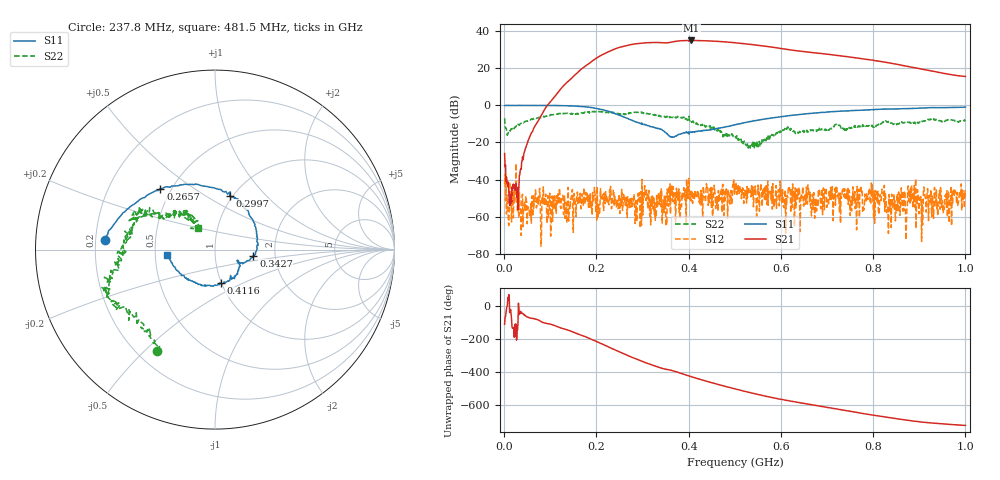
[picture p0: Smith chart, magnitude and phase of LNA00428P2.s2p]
! Created with skrf 1.9.0 (http://scikit-rf.org).
# Hz S RI R 50.0
!freq ReS11 ImS11 ReS21 ImS21 ReS12 ImS12 ReS22 ImS22
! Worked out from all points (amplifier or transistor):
!   1001 points, 1 MHz to 1 GHz, reference 50 ohm
!   highest |S21| = 35.1 dB at 405.6 MHz (marker M1)
!   |S21| within 3 dB of that: 262 MHz to 562.7 MHz (300.7 MHz wide, 72.9 % of centre)
!   unconditionally stable (mu >= 1): 237.9 MHz to 298.5 MHz; 299.3 MHz to 395.5 MHz; 400.8 MHz to end of sweep (the widest 3 of 41)
!   at 166.8 MHz: K = 2.47, MAG = 30.9 dB, |S12| = -55.7 dB
!   at 500.5 MHz: K = 1.47, MAG = 34.3 dB, |S12| = -42.8 dB
!   at 1 GHz: K = 3.92, MAG = 23.3 dB, |S12| = -48.6 dB
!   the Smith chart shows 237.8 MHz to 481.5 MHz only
!   S11 on the Smith chart (normalised r, x): 237.8 MHz: 0.24, +0.04; 265.7 MHz: 0.44, +0.37; 299.7 MHz: 0.97, +0.64; 342.7 MHz: 1.54, -0.11; 411.6 MHz: 0.99, -0.39; 481.5 MHz: 0.58, -0.04
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1000000  0.9917 0.00096  -0.017 -0.0474  -0.0059 -0.0051  0.3322 0.3106
1.08892e8  0.5273 -0.8432  -0.7888 -1.498  0.00382 0.000308  0.4264 -0.371
1.67833e8  -0.2227 -0.9076  -9.647 -0.6112  -0.00154 0.00157  0.0117 -0.6248
2.08792e8  -0.6624 -0.4221  -15.57 15.49  0.00201 -0.00529  -0.2307 -0.6332
2.37763e8  -0.614 0.0546  -4.702 32.31  0.00242 -0.00447  -0.3238 -0.5642
2.65735e8  -0.304 0.3402  18.23 36.79  0.00196 0.00238  -0.4807 -0.3936
2.99701e8  0.0817 0.2986  43.58 20.48  -0.00315 -0.00306  -0.5931 -0.2446
3.18682e8  0.2089 0.1677  49.8 5.022  -0.00135 0.00144  -0.5617 -0.1122
3.34666e8  0.2401 0.0233  49.14 -8.653  -1.13e-05 0.00435  -0.5148 -0.0281
3.42658e8  0.2137 -0.0335  47.14 -14.18  -0.000609 0.000268  -0.517 0.00194
3.75625e8  0.1339 -0.0792  41.95 -34.86  0.00196 0.002  -0.4453 0.2088
4.05595e8  0.0628 -0.1799  22.38 -51.98  0.0015 0.00218  -0.315 0.2056
4.11589e8  0.0309 -0.1882  17.7 -53.42  0.00394 0.00136  -0.2836 0.1709
4.45555e8  -0.1351 -0.173  -8.989 -54.04  0.00234 0.000564  -0.1571 0.2174
4.81519e8  -0.2655 -0.0283  -30.97 -41.18  0.00596 -0.000582  -0.0937 0.1227
5.005e8  -0.2856 0.0782  -38.13 -31.29  0.0022 -0.00687  -0.1169 0.0831
5.39461e8  -0.2446 0.2883  -42.42 -9.695  0.00621 -0.00109  -0.1018 0.00662
5.84416e8  -0.0785 0.4608  -35.71 9.33  0.00204 -0.00155  -0.1484 -0.0277
6.67333e8  0.3056 0.5316  -14.62 22.2  -0.000453 -0.00244  -0.2212 0.0021
7.55245e8  0.6229 0.3749  2.769 19.5  -0.000685 -0.00207  -0.256 0.0538
8.34166e8  0.7841 0.1495  9.645 10.23  0.00368 -0.00145  -0.3526 0.0423
1e9  0.8116 -0.386  6.04 -0.1255  0.00286 -0.00234  -0.2276 0.3235
